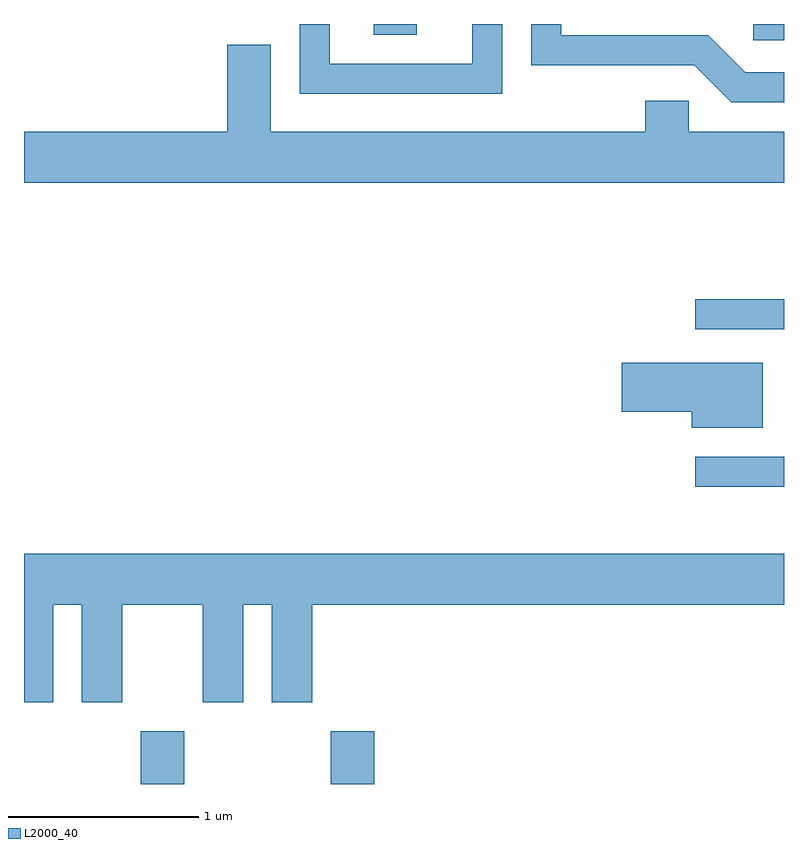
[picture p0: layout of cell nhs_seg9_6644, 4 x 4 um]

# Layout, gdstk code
import gdstk
lib = gdstk.Library(unit=1e-6, precision=1e-09)
def R(c, l, rs):  # rectangles x0, y0, x1, y1
    for r in rs: c.add(gdstk.rectangle(r[:2], r[2:], *l))
def P(c, l, *ps):  # polygons
    for p in ps: c.add(gdstk.Polygon(p, *l))
L2000_40 = (2000, 40)

nhs_seg9_6644 = lib.new_cell('nhs_seg9_6644')
R(nhs_seg9_6644, L2000_40, [(382.226,1986.432,382.454,1986.709), (383.226,1986.432,383.454,1986.709), (385.143,1987.996,385.611,1988.154), (385.143,1988.826,385.611,1988.984), (385.448,1990.346,385.611,1990.432), (383.451,1990.376,383.679,1990.432)])
P(nhs_seg9_6644, L2000_40, [(385.611,1990.179),(385.407,1990.179),(385.212,1990.374),(384.439,1990.374),(384.439,1990.432),(384.281,1990.432),(384.281,1990.216),(385.139,1990.216),(385.334,1990.021),(385.611,1990.021)],
  [(384.129,1990.432),(383.971,1990.432),(383.971,1990.224),(383.219,1990.224),(383.219,1990.432),(383.061,1990.432),(383.061,1990.066),(384.129,1990.066)],
  [(385.611,1989.864),(385.109,1989.864),(385.109,1990.029),(384.881,1990.029),(384.881,1989.864),(382.909,1989.864),(382.909,1990.324),(382.681,1990.324),(382.681,1989.864),(381.611,1989.864),(381.611,1989.596),(385.611,1989.596)],
  [(385.499,1988.649),(384.756,1988.649),(384.756,1988.391),(385.126,1988.391),(385.126,1988.306),(385.499,1988.306)],
  [(381.764,1987.376),(381.916,1987.376),(381.916,1986.861),(382.129,1986.861),(382.129,1987.376),(382.551,1987.376),(382.551,1986.861),(382.764,1986.861),(382.764,1987.376),(382.916,1987.376),(382.916,1986.861),(383.129,1986.861),(383.129,1987.376),(385.611,1987.376),(385.611,1987.644),(381.611,1987.644),(381.611,1986.861),(381.764,1986.861)])

lib.write_gds('nhs_seg9_6644.gds')
